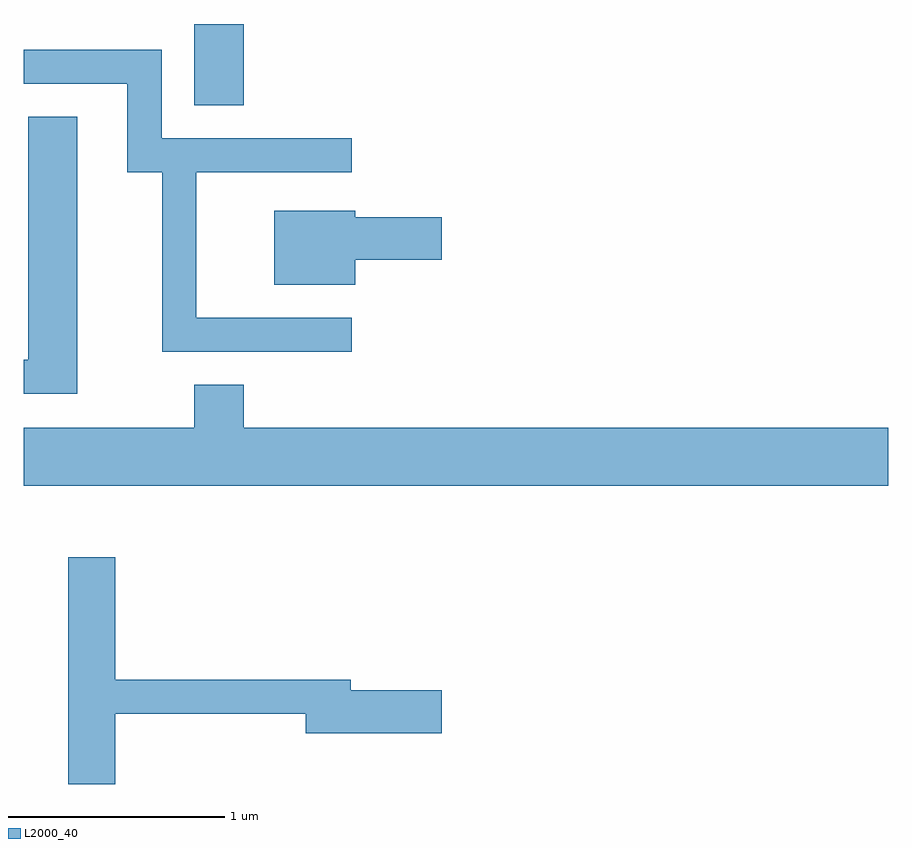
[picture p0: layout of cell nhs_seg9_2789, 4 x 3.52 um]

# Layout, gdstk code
import gdstk
lib = gdstk.Library(unit=1e-6, precision=1e-09)
def R(c, l, rs):  # rectangles x0, y0, x1, y1
    for r in rs: c.add(gdstk.rectangle(r[:2], r[2:], *l))
def P(c, l, *ps):  # polygons
    for p in ps: c.add(gdstk.Polygon(p, *l))
L2000_40 = (2000, 40)

nhs_seg9_2789 = lib.new_cell('nhs_seg9_2789')
R(nhs_seg9_2789, L2000_40, [(268.401,1958.056,268.629,1958.432)])
P(nhs_seg9_2789, L2000_40, [(269.128,1957.074),(268.409,1957.074),(268.409,1957.746),(269.128,1957.746),(269.128,1957.904),(268.249,1957.904),(268.249,1958.314),(267.611,1958.314),(267.611,1958.156),(268.091,1958.156),(268.091,1957.746),(268.251,1957.746),(268.251,1956.916),(269.128,1956.916)],
  [(267.859,1958.004),(267.631,1958.004),(267.631,1956.879),(267.611,1956.879),(267.611,1956.721),(267.859,1956.721)],
  [(269.144,1957.341),(269.544,1957.341),(269.544,1957.539),(269.144,1957.539),(269.144,1957.569),(268.771,1957.569),(268.771,1957.226),(269.144,1957.226)],
  [(271.611,1956.564),(268.629,1956.564),(268.629,1956.764),(268.401,1956.764),(268.401,1956.564),(267.611,1956.564),(267.611,1956.296),(271.611,1956.296)],
  [(268.034,1955.241),(268.916,1955.241),(268.916,1955.151),(269.544,1955.151),(269.544,1955.349),(269.124,1955.349),(269.124,1955.399),(268.034,1955.399),(268.034,1955.964),(267.816,1955.964),(267.816,1954.916),(268.034,1954.916)])

lib.write_gds('nhs_seg9_2789.gds')
